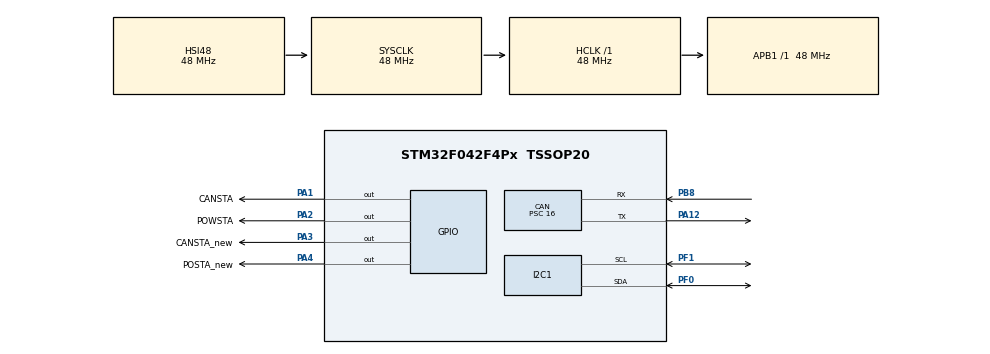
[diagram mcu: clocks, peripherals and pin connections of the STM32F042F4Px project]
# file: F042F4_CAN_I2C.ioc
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CAN.BS1=CAN_BS1_8TQ
CAN.BS2=CAN_BS2_3TQ
CAN.CalculateTimeBit=4000
CAN.CalculateTimeQuantum=333.3333333333333
CAN.Prescaler=16
CAN.SJW=CAN_SJW_4TQ
I2C1.Timing=0x20303E5D
Mcu.Family=STM32F0
Mcu.Name=STM32F042F4Px
Mcu.Package=TSSOP20
NVIC.CEC_CAN_IRQn=true\:0\:0\:false\:false\:true
NVIC.I2C1_IRQn=true\:0\:0\:false\:false\:true
PA1.GPIO_Label=CANSTA
PA1.GPIO_PuPd=GPIO_PULLUP
PA1.PinState=GPIO_PIN_SET
PA1.Signal=GPIO_Output
PA12.GPIO_PuPd=GPIO_PULLUP
PA12.Mode=Master
PA12.Signal=CAN_TX
PA13.Mode=Serial-WireDebug
PA13.Signal=SYS_SWDIO
PA14.Mode=Serial-WireDebug
PA14.Signal=SYS_SWCLK
PA2.GPIO_Label=POWSTA
PA2.GPIO_PuPd=GPIO_PULLUP
PA2.PinState=GPIO_PIN_SET
PA2.Signal=GPIO_Output
PA3.GPIO_Label=CANSTA_new
PA3.Signal=GPIO_Output
PA4.GPIO_Label=POSTA_new
PA4.Signal=GPIO_Output
PB8.GPIO_PuPd=GPIO_PULLUP
PB8.Mode=Master
PB8.Signal=CAN_RX
PF0-OSC_IN.Mode=I2C
PF0-OSC_IN.Signal=I2C1_SDA
PF1-OSC_OUT.Mode=I2C
PF1-OSC_OUT.Signal=I2C1_SCL
ProjectManager.HeapSize=0x200
ProjectManager.StackSize=0x400
ProjectManager.TargetToolchain=MDK-ARM V5
RCC.AHBFreq_Value=48000000
RCC.APB1Freq_Value=48000000
RCC.APB1TimFreq_Value=48000000
RCC.HCLKFreq_Value=48000000
RCC.I2c1ClockSelection=RCC_I2C1CLKSOURCE_SYSCLK
RCC.SYSCLKFreq_VALUE=48000000
RCC.SYSCLKSource=RCC_SYSCLKSOURCE_HSI48
VP_SYS_VS_PINREMAP.Mode=PINREMAP
board=F042F4_CAN_I2C

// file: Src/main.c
/**
  ******************************************************************************
  * File Name          : main.c
  * Description        : Main program body
  ******************************************************************************
  *
  * COPYRIGHT(c) 2016 STMicroelectronics
  *
  * Redistribution and use in source and binary forms, with or without modification,
  * are permitted provided that the following conditions are met:
  *   1. Redistributions of source code must retain the above copyright notice,
  *      this list of conditions and the following disclaimer.
  *   2. Redistributions in binary form must reproduce the above copyright notice,
  *      this list of conditions and the following disclaimer in the documentation
  *      and/or other materials provided with the distribution.
  *   3. Neither the name of STMicroelectronics nor the names of its contributors
  *      may be used to endorse or promote products derived from this software
  *      without specific prior written permission.
  *
  * THIS SOFTWARE IS PROVIDED BY THE COPYRIGHT HOLDERS AND CONTRIBUTORS "AS IS"
  * AND ANY EXPRESS OR IMPLIED WARRANTIES, INCLUDING, BUT NOT LIMITED TO, THE
  * IMPLIED WARRANTIES OF MERCHANTABILITY AND FITNESS FOR A PARTICULAR PURPOSE ARE
  * DISCLAIMED. IN NO EVENT SHALL THE COPYRIGHT HOLDER OR CONTRIBUTORS BE LIABLE
  * FOR ANY DIRECT, INDIRECT, INCIDENTAL, SPECIAL, EXEMPLARY, OR CONSEQUENTIAL
  * DAMAGES (INCLUDING, BUT NOT LIMITED TO, PROCUREMENT OF SUBSTITUTE GOODS OR
  * SERVICES; LOSS OF USE, DATA, OR PROFITS; OR BUSINESS INTERRUPTION) HOWEVER
  * CAUSED AND ON ANY THEORY OF LIABILITY, WHETHER IN CONTRACT, STRICT LIABILITY,
  * OR TORT (INCLUDING NEGLIGENCE OR OTHERWISE) ARISING IN ANY WAY OUT OF THE USE
  * OF THIS SOFTWARE, EVEN IF ADVISED OF THE POSSIBILITY OF SUCH DAMAGE.
  *
  ******************************************************************************
  */
#include "stm32f0xx_hal.h"

CAN_HandleTypeDef hcan;

I2C_HandleTypeDef hi2c1;

/* USER CODE BEGIN PV */
/* Private variables ---------------------------------------------------------*/
uint8_t xBuffer[3],rrr,www1,www2,send;
uint8_t UART_Buffer[3]={0x31,0x32,0x0D};
uint8_t DEVADDR;

uint32_t CAN_ReceiveMessage1 = 0;
uint32_t CAN_ReceiveMessage2 = 0;

typedef struct  {
  unsigned int   id;                    /* 29 bit identifier */
  unsigned char  data[8];               /* Data field */
  unsigned char  len;                   /* Length of data field in bytes */
  unsigned char  format;                /* 0 - STANDARD, 1- EXTENDED IDENTIFIER */
  unsigned char  type;                  /* 0 - DATA FRAME, 1 - REMOTE FRAME */
} CAN_msg;

CAN_msg       CAN_RxMsg;                      /* CAN message for receiving */

uint32_t      CAN_RxRdy = 0;              /* CAN HW received a message */

static uint32_t CAN_filterIdx[2] = {0,0};        /* static variable for the filter index */

uint32_t      CAN_msgId     = 0;

#define STANDARD_FORMAT  0
#define EXTENDED_FORMAT  1

#define DATA_FRAME       0
#define REMOTE_FRAME     1
/* USER CODE END PV */

void SystemClock_Config(void);
static void MX_GPIO_Init(void);
static void MX_CAN_Init(void);
static void MX_I2C1_Init(void);

/* USER CODE BEGIN PFP */
/* Private function prototypes -----------------------------------------------*/
//==============================================================================
void CAN_wrFilter (uint32_t ctrl, uint32_t id, uint8_t format)  {

  if (CAN_filterIdx[ctrl-1] > 13) {                 /* check if Filter Memory is full*/
    return;
  }
                                            /* Setup identifier information  */
  if (format == STANDARD_FORMAT)  {         /*   Standard ID                 */
      CAN_msgId |= (uint32_t)(id << 21) | CAN_ID_STD;
  }  else  {                                /*   Extended ID                 */
      CAN_msgId |= (uint32_t)(id <<  3) | CAN_ID_EXT;
  }

  CAN->FMR  |=   CAN_FMR_FINIT;            /* set initMode for filter banks */
  CAN->FA1R &=  ~(1UL << CAN_filterIdx[ctrl-1]);   /* deactivate filter             */

                                            /* initialize filter             */
  CAN->FS1R |= (uint32_t)(1 << CAN_filterIdx[ctrl-1]);     /* set 32-bit scale configuration    */

	/*! !* To disable the CAN Filters: Swap the comment on the next two lines and the two lines after the next line. */
	CAN->FM1R |= (uint32_t)(1 << CAN_filterIdx[ctrl-1]);   /* set to 32-bit Identifier List mode */
	//CAN->FM1R |= 0x0;    							/* DISABLES FILTERS  set to 32-bit Identifier Mask mode */

  CAN->sFilterRegister[CAN_filterIdx[ctrl-1]].FR1 = 0; //CAN_msgId; /*  32-bit identifier   */

	/* !!*  To disable the CAN Filters: Swap the comment on the next two lines.    */
  CAN->sFilterRegister[CAN_filterIdx[ctrl-1]].FR2 = CAN_msgId; 	/*  32-bit identifier (33) for identifier mode  */
	//CAN->sFilterRegister[CAN_filterIdx[ctrl-1]].FR2 = 0; 	/*  DISABLES FILTERS  32-bit MASK for mask mode */

  CAN->FFA1R &= ~(uint32_t)(1 << CAN_filterIdx[ctrl-1]);   /* assign filter to FIFO 0  */
  CAN->FA1R  |=  (uint32_t)(1 << CAN_filterIdx[ctrl-1]);   /* activate filter          */

  CAN->FMR &= ~CAN_FMR_FINIT;              /* reset initMode for filterBanks*/

	CAN_filterIdx[ctrl-1]++;                       /* increase filter index  */
}

//===========================================================================================
void CAN_rdMsg (uint32_t ctrl, CAN_msg *msg)  {
                                              /* Read identifier information  */
  if ((CAN->sFIFOMailBox[0].RIR & CAN_ID_EXT) == 0) {
    msg->format = STANDARD_FORMAT;
    msg->id     = 0x000007FF & (CAN->sFIFOMailBox[0].RIR >> 21);
  } else {
    msg->format = EXTENDED_FORMAT;
    msg->id     = 0x1FFFFFFF & (CAN->sFIFOMailBox[0].RIR >> 3);
  }
                                              /* Read type information        */
  if ((CAN->sFIFOMailBox[0].RIR & CAN_RTR_REMOTE) == 0) {
    msg->type =   DATA_FRAME;
  } else {
    msg->type = REMOTE_FRAME;
  }
                                              /* Read number of rec. bytes    */
  msg->len     = (CAN->sFIFOMailBox[0].RDTR      ) & 0x0F;
                                              /* Read data bytes              */
  msg->data[0] = (CAN->sFIFOMailBox[0].RDLR      ) & 0xFF;
  msg->data[1] = (CAN->sFIFOMailBox[0].RDLR >>  8) & 0xFF;
  msg->data[2] = (CAN->sFIFOMailBox[0].RDLR >> 16) & 0xFF;
  msg->data[3] = (CAN->sFIFOMailBox[0].RDLR >> 24) & 0xFF;

  msg->data[4] = (CAN->sFIFOMailBox[0].RDHR      ) & 0xFF;
  msg->data[5] = (CAN->sFIFOMailBox[0].RDHR >>  8) & 0xFF;
  msg->data[6] = (CAN->sFIFOMailBox[0].RDHR >> 16) & 0xFF;
  msg->data[7] = (CAN->sFIFOMailBox[0].RDHR >> 24) & 0xFF;

  CAN->RF0R |= CAN_RF0R_RFOM0;             /* Release FIFO 0 output mailbox */
}
//=============================================================================
void read_CAN(void)
{
CAN_rdMsg (1, &CAN_RxMsg);
}

/* USER CODE END PFP */

int main(void)
{

  /* MCU Configuration----------------------------------------------------------*/

  /* Reset of all peripherals, Initializes the Flash interface and the Systick. */
  HAL_Init();

  /* Configure the system clock */
  SystemClock_Config();

  /* Initialize all configured peripherals */
  MX_GPIO_Init();
  MX_CAN_Init();
  MX_I2C1_Init();

  /* USER CODE BEGIN 2 */
 CAN->IER |= CAN_IER_FMPIE0;								/* enable FIFO 0 msg pending IRQ    */
 CAN_wrFilter (1, 199, STANDARD_FORMAT);    /* filter reception of msgs */
 CAN->MCR &= ~CAN_MCR_INRQ;             		/* normal operating mode, reset INRQ*/
 while (CAN->MSR & CAN_MCR_INRQ);						/* start CAN Controller  */

HAL_GPIO_WritePin(GPIOA, GPIO_PIN_4, GPIO_PIN_RESET);		//on Power LED
HAL_GPIO_WritePin(GPIOA, GPIO_PIN_3, GPIO_PIN_SET);			//off CAN LED

  /* USER CODE END 2 */

  /* Infinite loop */
  while (1)
  {

  /* USER CODE BEGIN 3 */

    if (CAN_RxRdy == 1)  																														// rx msg on CAN Ctrl
			{
				CAN_RxRdy = 0;																															//clear CAM flag

				xBuffer[0] = 0x0;																														//write byte to potentiometr 0
				xBuffer[1] = CAN_ReceiveMessage1;
				DEVADDR=0x50; 																															//asdress of digital potentiometr
				www1=HAL_I2C_Master_Transmit(&hi2c1, (uint16_t) DEVADDR, xBuffer, 2, 10);  	//write to address  (2-number of bytes)
				//!!!       www1 = 0 if Transmit OK
				xBuffer[0] = 0x10;																													//write byte to potentiometr 1
				xBuffer[1] = CAN_ReceiveMessage2;
				DEVADDR=0x50; 																															//asdress of digital potentiometr
				www2=HAL_I2C_Master_Transmit(&hi2c1, (uint16_t) DEVADDR, xBuffer, 2, 10);  	//write to address  (2-number of bytes)
				//!!!        www2 = 0 if Transmit OK
				HAL_GPIO_TogglePin(GPIOA, GPIO_PIN_3);																			//toggle CAN LED
			}
//==========================================================================================================================
// 			TEST for digi pot
//==========================================================================================================================
//for (rrr=0;rrr<=255;rrr++)
//{
//			xBuffer[0] = 0x0;																													//write byte to potentiometr 0
//			xBuffer[1] = rrr;
//			DEVADDR=0x5e; 																														//asdress of digital potentiometr
//			www1=HAL_I2C_Master_Transmit(&hi2c1, (uint16_t) DEVADDR, xBuffer, 2, 10);  //write to address  (2-number of bytes)																														//memory write delay
//			xBuffer[0] = 0x10;																													//write byte to potentiometr 1
//			xBuffer[1] = rrr;
//			DEVADDR=0x5e; 																														//asdress of digital potentiometr
//			www2=HAL_I2C_Master_Transmit(&hi2c1, (uint16_t) DEVADDR, xBuffer, 2, 10);  //write to address  (2-number of bytes)
//HAL_Delay(200);  //delay for debug
//}
//===========================================================================================================================

  }
  /* USER CODE END 3 */

}

/** System Clock Configuration
*/
void SystemClock_Config(void)
{

  RCC_OscInitTypeDef RCC_OscInitStruct;
  RCC_ClkInitTypeDef RCC_ClkInitStruct;
  RCC_PeriphCLKInitTypeDef PeriphClkInit;

  RCC_OscInitStruct.OscillatorType = RCC_OSCILLATORTYPE_HSI48;
  RCC_OscInitStruct.HSI48State = RCC_HSI48_ON;
  RCC_OscInitStruct.PLL.PLLState = RCC_PLL_NONE;
  HAL_RCC_OscConfig(&RCC_OscInitStruct);

  RCC_ClkInitStruct.ClockType = RCC_CLOCKTYPE_HCLK|RCC_CLOCKTYPE_SYSCLK
                              |RCC_CLOCKTYPE_PCLK1;
  RCC_ClkInitStruct.SYSCLKSource = RCC_SYSCLKSOURCE_HSI48;
  RCC_ClkInitStruct.AHBCLKDivider = RCC_SYSCLK_DIV1;
  RCC_ClkInitStruct.APB1CLKDivider = RCC_HCLK_DIV1;
  HAL_RCC_ClockConfig(&RCC_ClkInitStruct, FLASH_LATENCY_1);

  PeriphClkInit.PeriphClockSelection = RCC_PERIPHCLK_I2C1;
  PeriphClkInit.I2c1ClockSelection = RCC_I2C1CLKSOURCE_SYSCLK;
  HAL_RCCEx_PeriphCLKConfig(&PeriphClkInit);

  HAL_SYSTICK_Config(HAL_RCC_GetHCLKFreq()/1000);

  HAL_SYSTICK_CLKSourceConfig(SYSTICK_CLKSOURCE_HCLK);

  /* SysTick_IRQn interrupt configuration */
  HAL_NVIC_SetPriority(SysTick_IRQn, 0, 0);
}

/* CAN init function */
void MX_CAN_Init(void)
{

  hcan.Instance = CAN;
  hcan.Init.Prescaler = 16;
  hcan.Init.Mode = CAN_MODE_NORMAL;
  hcan.Init.SJW = CAN_SJW_4TQ;
  hcan.Init.BS1 = CAN_BS1_8TQ;
  hcan.Init.BS2 = CAN_BS2_3TQ;
  hcan.Init.TTCM = DISABLE;
  hcan.Init.ABOM = DISABLE;
  hcan.Init.AWUM = DISABLE;
  hcan.Init.NART = DISABLE;
  hcan.Init.RFLM = DISABLE;
  hcan.Init.TXFP = DISABLE;
  HAL_CAN_Init(&hcan);

}

/* I2C1 init function */
void MX_I2C1_Init(void)
{

  hi2c1.Instance = I2C1;
  hi2c1.Init.Timing = 0x20303E5D;
  hi2c1.Init.OwnAddress1 = 0;
  hi2c1.Init.AddressingMode = I2C_ADDRESSINGMODE_7BIT;
  hi2c1.Init.DualAddressMode = I2C_DUALADDRESS_DISABLE;
  hi2c1.Init.OwnAddress2 = 0;
  hi2c1.Init.OwnAddress2Masks = I2C_OA2_NOMASK;
  hi2c1.Init.GeneralCallMode = I2C_GENERALCALL_DISABLE;
  hi2c1.Init.NoStretchMode = I2C_NOSTRETCH_DISABLE;
  HAL_I2C_Init(&hi2c1);

    /**Configure Analogue filter
    */
  HAL_I2CEx_ConfigAnalogFilter(&hi2c1, I2C_ANALOGFILTER_ENABLE);

}

/** Configure pins as
        * Analog
        * Input
        * Output
        * EVENT_OUT
        * EXTI
*/
void MX_GPIO_Init(void)
{

  GPIO_InitTypeDef GPIO_InitStruct;

  /* GPIO Ports Clock Enable */
  __HAL_RCC_GPIOB_CLK_ENABLE();
  __HAL_RCC_GPIOF_CLK_ENABLE();
  __HAL_RCC_GPIOA_CLK_ENABLE();

  /*Configure GPIO pin Output Level */
  HAL_GPIO_WritePin(GPIOA, CANSTA_Pin|POWSTA_Pin, GPIO_PIN_SET);

  /*Configure GPIO pin Output Level */
  HAL_GPIO_WritePin(GPIOA, CANSTA_new_Pin|POSTA_new_Pin, GPIO_PIN_RESET);

  /*Configure GPIO pins : CANSTA_Pin POWSTA_Pin */
  GPIO_InitStruct.Pin = CANSTA_Pin|POWSTA_Pin;
  GPIO_InitStruct.Mode = GPIO_MODE_OUTPUT_PP;
  GPIO_InitStruct.Pull = GPIO_PULLUP;
  GPIO_InitStruct.Speed = GPIO_SPEED_FREQ_LOW;
  HAL_GPIO_Init(GPIOA, &GPIO_InitStruct);

  /*Configure GPIO pins : CANSTA_new_Pin POSTA_new_Pin */
  GPIO_InitStruct.Pin = CANSTA_new_Pin|POSTA_new_Pin;
  GPIO_InitStruct.Mode = GPIO_MODE_OUTPUT_PP;
  GPIO_InitStruct.Pull = GPIO_NOPULL;
  GPIO_InitStruct.Speed = GPIO_SPEED_FREQ_LOW;
  HAL_GPIO_Init(GPIOA, &GPIO_InitStruct);

}

/************************ (C) COPYRIGHT STMicroelectronics *****END OF FILE****/
